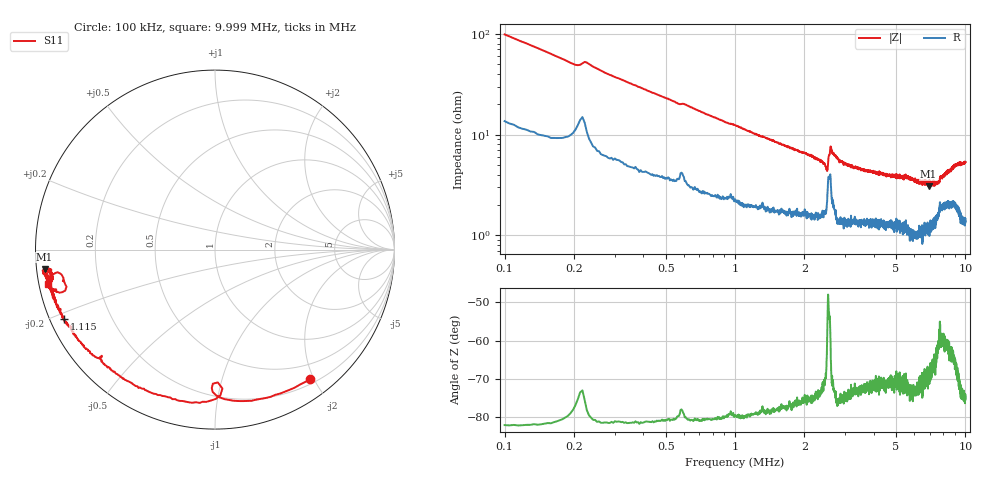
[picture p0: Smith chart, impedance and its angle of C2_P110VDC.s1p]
# HZ S RI R 50
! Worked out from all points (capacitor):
!   2020 points, 100 kHz to 9.999 MHz, reference 50 ohm
!   read as one part to ground: C = 14.7 nF near 149 kHz
!   lowest |Z| = 3.07 ohm at 6.925 MHz (marker M1)
!   S11 on the Smith chart (normalised r, x): 100 kHz: 0.27, -1.95; 1.115 MHz: 0.04, -0.22; 9.999 MHz: 0.03, -0.10
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100000  0.5316 -0.7192
124515  0.3927 -0.79
153933  0.2269 -0.8365
168642  0.1503 -0.8441
193157  0.0261 -0.8235
301023  -0.2476 -0.8245
369665  -0.395 -0.7752
448113  -0.5194 -0.7125
526561  -0.6034 -0.6491
742293  -0.7396 -0.5259
913898  -0.8008 -0.4474
1114921  -0.8414 -0.3862
1340459  -0.8702 -0.3347
1776826  -0.8992 -0.2644
2448537  -0.9163 -0.1797
2526985  -0.8771 -0.1264
2576015  -0.843 -0.1763
2644657  -0.8936 -0.2279
2811359  -0.9255 -0.2051
3233017  -0.9346 -0.1699
3816474  -0.9409 -0.1571
5052030  -0.9373 -0.1354
6287586  -0.9519 -0.1172
6924976  -0.9494 -0.1085
7528045  -0.9351 -0.1108
7787904  -0.9156 -0.1181
8763601  -0.9127 -0.1533
9999157  -0.9283 -0.1937
